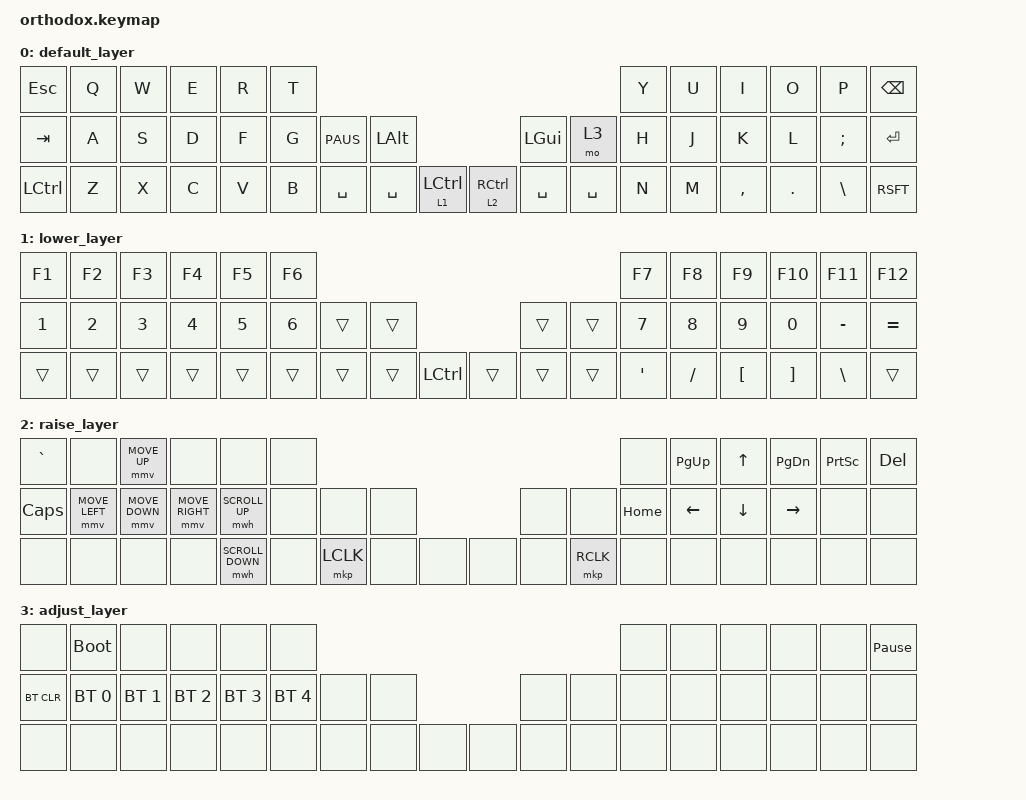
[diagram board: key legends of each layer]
/*
 * Copyright (c) 2020 The ZMK Contributors
 *
 * SPDX-License-Identifier: MIT
 */

#include <behaviors.dtsi>
#include <dt-bindings/zmk/keys.h>
#include <dt-bindings/zmk/bt.h>
#include <dt-bindings/zmk/mouse.h>

#define DEF 0
#define LWR 1
#define RSE 2
#define ADJ 3

&lt { quick_tap_ms = <200>; };
&mt { quick_tap_ms = <200>; };

/ {
        keymap {
                compatible = "zmk,keymap";

                default_layer {
                        bindings = <
    &kp ESC  &kp Q  &kp W   &kp E   &kp R   &kp T                                                            &kp Y   &kp U   &kp I   &kp O   &kp P     &kp BSPC
    &kp TAB  &kp A  &kp S   &kp D   &kp F   &kp G   &kp PAUS &kp LALT                       &kp LGUI &mo 3   &kp H  &kp J   &kp K   &kp L   &kp SCLN  &kp RET
    &kp LCTL &kp Z  &kp X   &kp C   &kp V   &kp B   &kp SPC  &kp SPC &lt 1 LCTL  &lt 2 RCTL &kp SPC  &kp SPC &kp N  &kp M  &kp COMMA &kp DOT &kp BSLH  &kp RSFT
                        >;
                };
                lower_layer {
                        bindings = <
    &kp F1  &kp F2  &kp F3  &kp F4  &kp F5  &kp F6                                                   &kp F7  &kp F8  &kp F9   &kp F10  &kp F11   &kp F12
    &kp N1  &kp N2  &kp N3  &kp N4  &kp N5  &kp N6  &trans   &trans                         &trans   &trans  &kp N7  &kp N8   &kp N9   &kp N0    &kp MINUS &kp EQUAL
    &trans  &trans  &trans  &trans  &trans  &trans  &trans   &trans  &kp LCTL      &trans   &trans   &trans  &kp SQT &kp FSLH &kp LBKT &kp RBKT  &kp BSLH  &trans    
                        >;  
                };

                raise_layer {
                        bindings = <
   &kp GRAVE &none  &mmv MOVE_UP   &none   &none   &none                                                      &none     &kp PG_UP &kp UP   &kp PG_DN &kp PSCRN &kp DEL
   &kp CAPS  &mmv MOVE_LEFT &mmv MOVE_DOWN  &mmv MOVE_RIGHT &mwh SCROLL_UP &none &none &none          &none  &none     &kp HOME  &kp LEFT &kp DOWN  &kp RIGHT &none &none
   &none     &none   &none   &none  &mwh SCROLL_DOWN  &none  &mkp LCLK  &none  &none              &none  &none  &mkp RCLK &none     &none    &none     &none &none     &none
                        >;
                };
                adjust_layer {
                        bindings = <
    &none &bootloader &none  &none  &none   &none                                                       &none   &none   &none   &none   &none    &kp PAUSE_BREAK
    &bt BT_CLR &bt BT_SEL 0 &bt BT_SEL 1 &bt BT_SEL 2 &bt BT_SEL 3 &bt BT_SEL 4 &none &none   &none &none    &none   &none   &none   &none   &none    &none
    &none    &none  &none   &none   &none   &none   &none    &none   &none         &none    &none   &none    &none   &none   &none   &none   &none    &none
                        >;
                };
        };
};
